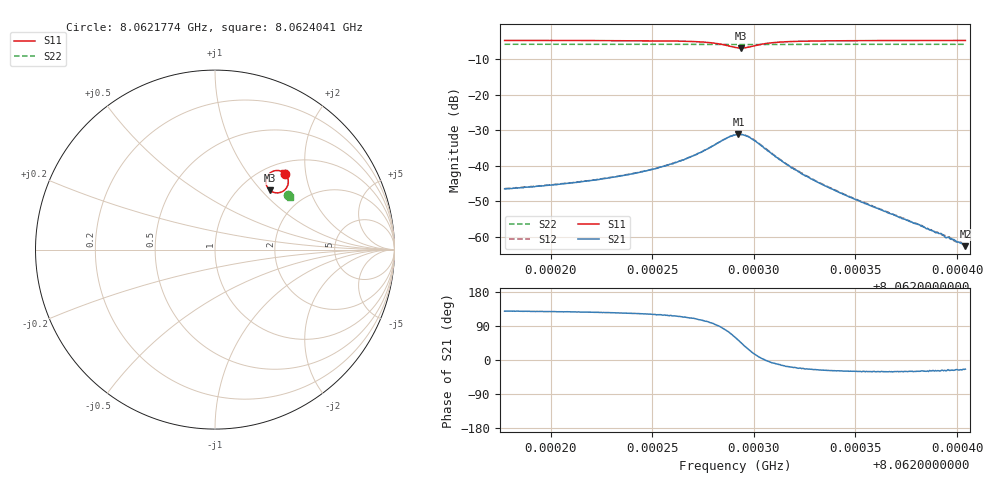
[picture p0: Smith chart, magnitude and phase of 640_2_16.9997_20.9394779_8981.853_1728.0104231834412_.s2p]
#  HZ  S  RI  R  50.00
! Rohde & Schwarz Vector Network Analyzer
! Rohde-Schwarz,ZNB20-2Port,1311601062101988,3.16
! Created: UTC 3/20/2024, 11:20:48 PM
! freq[Hz]  re:S11  im:S11  re:S21  im:S21  re:S12  im:S12  re:S22  im:S22
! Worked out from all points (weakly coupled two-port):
!   401 points, 8.0621774 GHz to 8.0624041 GHz, reference 50 ohm
!   highest |S21| = -31.22 dB at 8.0622924 GHz (marker M1); lowest = -62.6 dB at 8.0624041 GHz (marker M2)
!   lowest |S11| = -6.9 dB at 8.0622936 GHz (marker M3), VSWR 2.64, Z = 67.3 + j55.9 ohm
!   |S11| at or under -10 dB: nowhere
!   |S22| runs from -6.0 to -5.9 dB; largest |S21 - S12| = 0.0014
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8.06217736e9  0.3902 0.4232  -0.00296 0.00368  -0.00276 0.00389  0.4093 0.3017
8.06221534e9  0.396 0.4164  -0.00353 0.0048  -0.0033 0.00507  0.4106 0.2994
8.06223744e9  0.4004 0.4093  -0.00411 0.00619  -0.00378 0.0065  0.4116 0.2981
8.06225331e9  0.4049 0.3998  -0.00464 0.00823  -0.00417 0.00847  0.4121 0.2968
8.06226635e9  0.4084 0.3843  -0.00488 0.0115  -0.00413 0.0118  0.4125 0.2958
8.06227938e9  0.4017 0.3498  -0.00237 0.0185  -0.00126 0.0188  0.4121 0.2936
8.06228732e9  0.3646 0.3187  0.00644 0.0241  0.00773 0.0238  0.4106 0.2924
8.06229072e9  0.3327 0.3174  0.0134 0.0235  0.0146 0.023  0.4093 0.2926
8.06229242e9  0.3156 0.3239  0.0169 0.0217  0.0181 0.021  0.4087 0.293
8.06229355e9  0.3054 0.3311  0.019 0.0197  0.0199 0.0191  0.4082 0.2933
8.06229582e9  0.2903 0.3505  0.0217 0.0152  0.0226 0.0144  0.4081 0.2943
8.06229865e9  0.2836 0.3781  0.0223 0.00903  0.0231 0.00827  0.4082 0.2954
8.06230659e9  0.306 0.4263  0.0163 -0.000669  0.0167 -0.00168  0.41 0.2968
8.06231622e9  0.335 0.4399  0.0099 -0.00301  0.00985 -0.0036  0.4117 0.2965
8.06232416e9  0.3491 0.4408  0.00694 -0.0028  0.00695 -0.00329  0.4125 0.2959
8.06232869e9  0.3546 0.4404  0.00584 -0.0027  0.00575 -0.00309  0.413 0.2957
8.06234626e9  0.3681 0.437  0.00324 -0.00182  0.00316 -0.00206  0.4141 0.2946
8.06236667e9  0.3759 0.4336  0.00184 -0.00108  0.00178 -0.00122  0.4152 0.2934
8.06239217e9  0.3819 0.4299  0.000987 -0.000515  0.000916 -0.000592  0.4161 0.2918
8.062395e9  0.3823 0.4296  0.000868 -0.000454  0.000863 -0.000555  0.4163 0.2916
8.06239897e9  0.3829 0.4293  0.000798 -0.000394  0.000743 -0.00044  0.4163 0.2914
8.06240407e9  0.3839 0.4286  0.000675 -0.000302  0.000683 -0.000374  0.4165 0.2912
